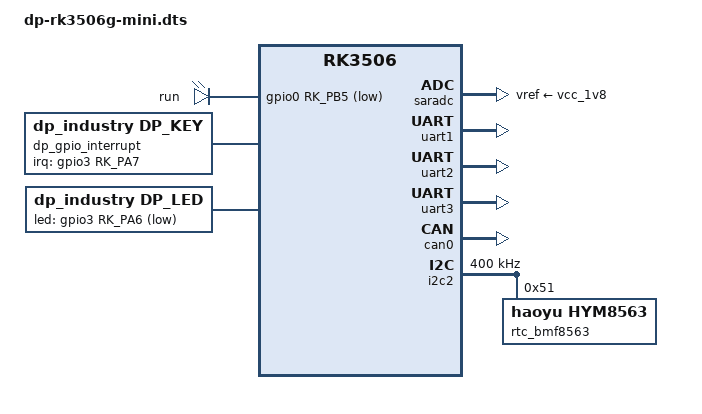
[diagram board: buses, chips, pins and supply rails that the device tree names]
// SPDX-License-Identifier: (GPL-2.0+ OR MIT)
/*
 * Copyright (c) 2024 Rockchip Electronics Co., Ltd.
 */

/dts-v1/;

#include "rk3506.dtsi"
#include "rk3502.dtsi"
#include "rk3506g-mini-v10.dtsi"
//#include "rk3506g-mini-v10-mipi.dtsi"
#include "rk3506g-mini-v10-rgb.dtsi"

/ {
	// LED
	leds {
		compatible = "gpio-leds";
		status = "okay";
		heart_led {
			label = "run";
			gpios = <&gpio0 RK_PB5 GPIO_ACTIVE_LOW>;
			linux,default-trigger = "heartbeat";
			default-state = "off";
		};
	};

	// KEY
	adc_keys: adc-keys {
		compatible = "adc-keys";
		status = "disabled";
		io-channels = <&saradc 2>;
		io-channel-names = "buttons";
		keyup-threshold-microvolt = <1800000>;
		poll-interval = <100>;

		vol-up-key {
			label = "key 1";
			linux,code = <KEY_1>;
			press-threshold-microvolt = <575000>;
		};

		vol-down-key {
			label = "key 2";
			linux,code = <KEY_2>;
			press-threshold-microvolt = <1125000>;
		};
	};

	reserved-memory {
		#address-cells = <1>;
		#size-cells = <1>;
		ranges;

		linux,cma {
			compatible = "shared-dma-pool";
			inactive;
			reusable;
			size = <0x1000000>;
			linux,cma-default;
		};

		drm_logo: drm-logo@0 {
			compatible = "rockchip,drm-logo";
			reg = <0x0 0x0>;
		};
	};

	dp_gpio_interrupt: dp-gpio-interrupt {
		compatible = "dp_industry,dp_key";
        pinctrl-names = "default";
        pinctrl-0 = <&key_gpio3_a7>;

        interrupt-parent = <&gpio3>;
        interrupts = <RK_PA7 IRQ_TYPE_EDGE_FALLING>;
		leds = <&dp_led>;
		status = "okay";
	};

	dp_led: dp-led {
		compatible = "dp_industry,dp_led";
		pinctrl-names = "default";
		pinctrl-0 = <&dp_gpio_led>;
		led-gpios = <&gpio3 RK_PA6 GPIO_ACTIVE_LOW>;
		status = "okay";
	};
};

&saradc {
	vref-supply = <&vcc_1v8>;
	status = "okay";
};

// UART1 - JP3
&uart1 {
	pinctrl-names = "default";
	pinctrl-0 = <&rm_io16_uart1_rx &rm_io17_uart1_tx>;
	status = "okay";
};

// UART1 - JP4
&uart2 {
	pinctrl-names = "default";
	pinctrl-0 = <&rm_io0_uart2_rx &rm_io2_uart2_tx>;
	status = "okay";
};

// UART1 - JP5
&uart3 {
	pinctrl-names = "default";
	pinctrl-0 = <&rm_io15_uart3_rx &rm_io14_uart3_tx>;
	status = "okay";
};

// CAN0 - JP6
&can0 {
	rockchip,rx-max-data = <18>;
	assigned-clocks = <&cru CLK_CAN0>;
	assigned-clock-rates = <200000000>;
	pinctrl-0 = <&rm_io19_can0_tx &rm_io20_can0_rx>;
	pinctrl-names = "default";
	status = "okay";
};

&i2c2 {
	clock-frequency = <400000>;
	pinctrl-names = "default";
	pinctrl-0 = <&rm_io4_i2c2_scl &rm_io5_i2c2_sda>;
	status = "okay";

	// RTC
	rtc_bmf8563: rtc@51 {
		compatible = "haoyu,hym8563";
		reg = <0x51>;
		status = "okay";
	};
};

&pinctrl {
	/*
	 * rockchip pinctrl 必须两层：
	 *   功能(function)节点  ->  组(group)节点(带 rockchip,pins)
	 * 组平铺在 &pinctrl 下会变成 "groups = [ ]" 的空 function，
	 * pinctrl-0 引用时就会报 unable to find group for node xxx。
	 */
	led {
		dp_gpio_led: dp_gpio_led {
			rockchip,pins = <3 RK_PA6 RK_FUNC_GPIO &pcfg_pull_none>;
		};

		gpio_led_run: gpio-led-run {
			rockchip,pins = <0 RK_PB5 RK_FUNC_GPIO &pcfg_pull_none>;
		};
	};

	key {
		key_gpio4_b2: key-gpio4-b2 {
			rockchip,pins = <4 RK_PB2 RK_FUNC_GPIO &pcfg_pull_up>;
		};
	};
	key-1 {
		key_gpio3_a7: key_gpio3_a7 {
			rockchip,pins = <3 RK_PA7 RK_FUNC_GPIO &pcfg_pull_up>;
		};
	};
};
